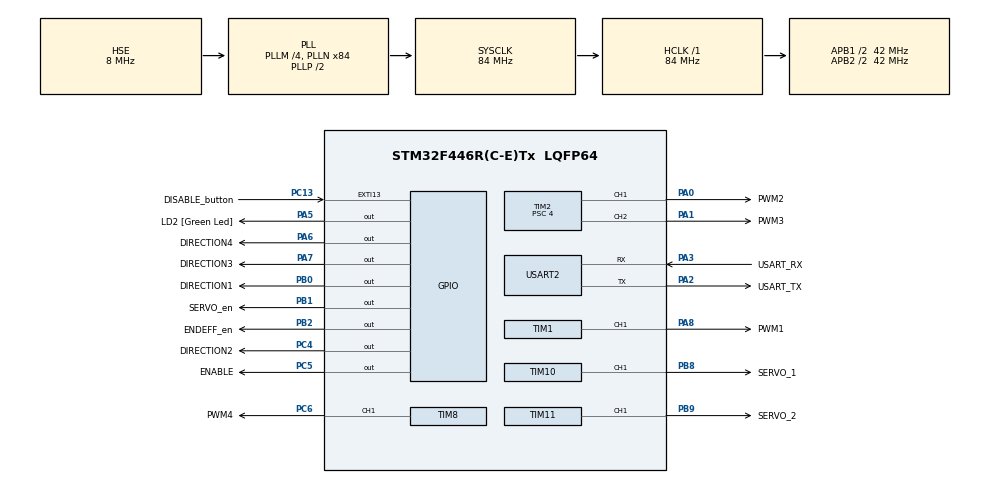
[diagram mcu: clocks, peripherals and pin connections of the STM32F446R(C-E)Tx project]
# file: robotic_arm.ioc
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Mcu.Family=STM32F4
Mcu.Name=STM32F446R(C-E)Tx
Mcu.Package=LQFP64
NVIC.EXTI15_10_IRQn=true\:0\:0\:false\:false\:true\:true\:true\:true
NVIC.PriorityGroup=NVIC_PRIORITYGROUP_1
NVIC.TIM1_BRK_TIM9_IRQn=true\:1\:0\:true\:false\:true\:true\:true\:true
NVIC.TIM1_CC_IRQn=true\:1\:0\:true\:false\:true\:true\:true\:true
NVIC.TIM1_TRG_COM_TIM11_IRQn=true\:1\:0\:true\:false\:true\:true\:true\:true
NVIC.TIM1_UP_TIM10_IRQn=true\:1\:0\:true\:false\:true\:true\:true\:true
NVIC.TIM2_IRQn=true\:1\:0\:true\:false\:true\:true\:true\:true
NVIC.TIM3_IRQn=true\:1\:0\:true\:false\:true\:true\:true\:true
NVIC.TIM4_IRQn=true\:1\:0\:true\:false\:true\:true\:true\:true
NVIC.TIM5_IRQn=true\:1\:0\:true\:false\:true\:true\:true\:true
NVIC.TIM6_DAC_IRQn=true\:1\:0\:true\:false\:true\:true\:true\:true
NVIC.TIM8_BRK_TIM12_IRQn=true\:1\:0\:true\:false\:true\:true\:true\:true
NVIC.TIM8_CC_IRQn=true\:1\:0\:true\:false\:true\:true\:true\:true
NVIC.TIM8_TRG_COM_TIM14_IRQn=true\:1\:0\:true\:false\:true\:true\:true\:true
NVIC.TIM8_UP_TIM13_IRQn=true\:1\:0\:true\:false\:true\:true\:true\:true
PA0-WKUP.GPIO_Label=PWM2
PA0-WKUP.Signal=S_TIM2_CH1_ETR
PA1.GPIO_Label=PWM3
PA1.Signal=S_TIM2_CH2
PA13.GPIO_Label=TMS
PA13.Mode=Serial_Wire
PA13.Signal=SYS_JTMS-SWDIO
PA14.GPIO_Label=TCK
PA14.Mode=Serial_Wire
PA14.Signal=SYS_JTCK-SWCLK
PA2.GPIO_Label=USART_TX
PA2.Mode=Asynchronous
PA2.Signal=USART2_TX
PA3.GPIO_Label=USART_RX
PA3.Mode=Asynchronous
PA3.Signal=USART2_RX
PA5.GPIO_Label=LD2 [Green Led]
PA5.Signal=GPIO_Output
PA6.GPIO_Label=DIRECTION4
PA6.GPIO_PuPd=GPIO_PULLDOWN
PA6.Signal=GPIO_Output
PA7.GPIO_Label=DIRECTION3
PA7.GPIO_PuPd=GPIO_PULLDOWN
PA7.Signal=GPIO_Output
PA8.GPIO_Label=PWM1
PA8.Signal=S_TIM1_CH1
PB0.GPIO_Label=DIRECTION1
PB0.GPIO_ModeDefaultOutputPP=GPIO_MODE_OUTPUT_PP
PB0.GPIO_PuPd=GPIO_PULLDOWN
PB0.Signal=GPIO_Output
PB1.GPIO_Label=SERVO_en
PB1.GPIO_PuPd=GPIO_PULLDOWN
PB1.PinState=GPIO_PIN_RESET
PB1.Signal=GPIO_Output
PB2.GPIO_Label=ENDEFF_en
PB2.GPIO_PuPd=GPIO_PULLUP
PB2.PinState=GPIO_PIN_SET
PB2.Signal=GPIO_Output
PB3.GPIO_Label=SWO
PB3.Signal=SYS_JTDO-SWO
PB8.GPIO_Label=SERVO_1
PB8.Signal=S_TIM10_CH1
PB9.GPIO_Label=SERVO_2
PB9.Signal=S_TIM11_CH1
PC13.GPIO_Label=DISABLE_button
PC13.Signal=GPXTI13
PC14-OSC32_IN.Mode=LSE-External-Oscillator
PC14-OSC32_IN.Signal=RCC_OSC32_IN
PC15-OSC32_OUT.Mode=LSE-External-Oscillator
PC15-OSC32_OUT.Signal=RCC_OSC32_OUT
PC4.GPIO_Label=DIRECTION2
PC4.GPIO_PuPd=GPIO_PULLDOWN
PC4.Signal=GPIO_Output
PC5.GPIO_Label=ENABLE
PC5.GPIO_PuPd=GPIO_PULLUP
PC5.GPIO_Speed=GPIO_SPEED_FREQ_HIGH
PC5.PinState=GPIO_PIN_SET
PC5.Signal=GPIO_Output
PC6.GPIO_Label=PWM4
PC6.Signal=S_TIM8_CH1
PH0-OSC_IN.Mode=HSE-External-Oscillator
PH0-OSC_IN.Signal=RCC_OSC_IN
PH1-OSC_OUT.Mode=HSE-External-Oscillator
PH1-OSC_OUT.Signal=RCC_OSC_OUT
ProjectManager.HeapSize=0x200
ProjectManager.StackSize=0x400
ProjectManager.TargetToolchain=STM32CubeIDE
RCC.48MHZClocksFreq_Value=84000000
RCC.AHBFreq_Value=84000000
RCC.APB1CLKDivider=RCC_HCLK_DIV2
RCC.APB1Freq_Value=42000000
RCC.APB1TimFreq_Value=84000000
RCC.APB2CLKDivider=RCC_HCLK_DIV2
RCC.APB2Freq_Value=42000000
RCC.APB2TimFreq_Value=84000000
RCC.CortexFreq_Value=84000000
RCC.FLatency-AdvancedSettings=FLASH_LATENCY_2
RCC.HCLKFreq_Value=84000000
RCC.HSE_VALUE=8000000
RCC.HSI_VALUE=16000000
RCC.PLLM=4
RCC.PLLN=84
RCC.PLLSourceVirtual=RCC_PLLSOURCE_HSE
RCC.SYSCLKFreq_VALUE=84000000
RCC.SYSCLKSource=RCC_SYSCLKSOURCE_PLLCLK
RCC.USBFreq_Value=84000000
RCC.VCOOutputFreq_Value=168000000
SH.S_TIM10_CH1.0=TIM10_CH1,PWM Generation1 CH1
SH.S_TIM11_CH1.0=TIM11_CH1,PWM Generation1 CH1
SH.S_TIM1_CH1.0=TIM1_CH1,PWM Generation1 CH1
SH.S_TIM2_CH1_ETR.0=TIM2_CH1,PWM Generation1 CH1
SH.S_TIM2_CH2.0=TIM2_CH2,PWM Generation2 CH2
SH.S_TIM8_CH1.0=TIM8_CH1,PWM Generation1 CH1
TIM1.AutoReloadPreload=TIM_AUTORELOAD_PRELOAD_ENABLE
TIM1.Channel-PWM\ Generation1\ CH1=TIM_CHANNEL_1
TIM1.OCFastMode_PWM-PWM\ Generation1\ CH1=TIM_OCFAST_ENABLE
TIM1.Period=65535
TIM1.Prescaler=4
TIM1.Pulse-PWM\ Generation1\ CH1=32768
TIM1.TIM_MasterOutputTrigger=TIM_TRGO_UPDATE
TIM1.TIM_MasterSlaveMode=TIM_MASTERSLAVEMODE_ENABLE
TIM10.AutoReloadPreload=TIM_AUTORELOAD_PRELOAD_ENABLE
TIM10.Channel=TIM_CHANNEL_1
TIM10.OCFastMode_PWM=TIM_OCFAST_ENABLE
TIM10.Pulse=1
TIM11.AutoReloadPreload=TIM_AUTORELOAD_PRELOAD_ENABLE
TIM11.Channel=TIM_CHANNEL_1
TIM11.OCFastMode_PWM=TIM_OCFAST_ENABLE
TIM11.Pulse=1
TIM2.AutoReloadPreload=TIM_AUTORELOAD_PRELOAD_ENABLE
TIM2.Channel-PWM\ Generation1\ CH1=TIM_CHANNEL_1
TIM2.Channel-PWM\ Generation2\ CH2=TIM_CHANNEL_2
TIM2.OCFastMode_PWM-PWM\ Generation1\ CH1=TIM_OCFAST_ENABLE
TIM2.OCFastMode_PWM-PWM\ Generation2\ CH2=TIM_OCFAST_ENABLE
TIM2.Period=65535
TIM2.Prescaler=4
TIM2.Pulse-PWM\ Generation1\ CH1=32768
TIM2.Pulse-PWM\ Generation2\ CH2=32768
TIM2.TIM_MasterOutputTrigger=TIM_TRGO_UPDATE
TIM2.TIM_MasterSlaveMode=TIM_MASTERSLAVEMODE_ENABLE
TIM3.AutoReloadPreload=TIM_AUTORELOAD_PRELOAD_DISABLE
TIM3.CounterMode=TIM_COUNTERMODE_UP
TIM3.Period=199
TIM3.Prescaler=65535
TIM3.TIM_MasterOutputTrigger=TIM_TRGO_RESET
TIM3.TIM_MasterSlaveMode=TIM_MASTERSLAVEMODE_DISABLE
TIM4.Period=199
TIM4.Prescaler=65535
TIM5.AutoReloadPreload=TIM_AUTORELOAD_PRELOAD_DISABLE
TIM5.Period=199
TIM5.Prescaler=65535
TIM5.TIM_MasterOutputTrigger=TIM_TRGO_RESET
TIM5.TIM_MasterSlaveMode=TIM_MASTERSLAVEMODE_DISABLE
TIM6.Period=59999
TIM6.Prescaler=1400*3
TIM8.AutoReloadPreload=TIM_AUTORELOAD_PRELOAD_ENABLE
TIM8.Channel-PWM\ Generation1\ CH1=TIM_CHANNEL_1
TIM8.OCFastMode_PWM-PWM\ Generation1\ CH1=TIM_OCFAST_ENABLE
TIM8.Period=65535
TIM8.Prescaler=4
TIM8.Pulse-PWM\ Generation1\ CH1=32768
TIM8.TIM_MasterOutputTrigger=TIM_TRGO_UPDATE
TIM8.TIM_MasterSlaveMode=TIM_MASTERSLAVEMODE_ENABLE
USART2.VirtualMode=VM_ASYNC
VP_TIM10_VS_ClockSourceINT.Mode=Enable_Timer
VP_TIM11_VS_ClockSourceINT.Mode=Enable_Timer
VP_TIM1_VS_ClockSourceINT.Mode=Internal
VP_TIM2_VS_ClockSourceINT.Mode=Internal
VP_TIM3_VS_ClockSourceINT.Mode=Internal
VP_TIM3_VS_ClockSourceITR.Mode=TriggerSource_ITR1
VP_TIM3_VS_ControllerModeTrigger.Mode=Trigger Mode
VP_TIM4_VS_ClockSourceINT.Mode=Internal
VP_TIM4_VS_ClockSourceITR.Mode=TriggerSource_ITR0
VP_TIM4_VS_ControllerModeTrigger.Mode=Trigger Mode
VP_TIM5_VS_ClockSourceINT.Mode=Internal
VP_TIM5_VS_ClockSourceITR.Mode=TriggerSource_ITR3
VP_TIM5_VS_ControllerModeTrigger.Mode=Trigger Mode
VP_TIM6_VS_ClockSourceINT.Mode=Enable_Timer
VP_TIM8_VS_ClockSourceINT.Mode=Internal
board=NUCLEO-F446RE

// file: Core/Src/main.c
/* USER CODE BEGIN Header */
/**
 ******************************************************************************
 * @file           : main.c
 * @brief          : Main program body
 ******************************************************************************
 * @attention
 *
 * Copyright (c) 2025 STMicroelectronics.
 * All rights reserved.
 *
 * This software is licensed under terms that can be found in the LICENSE file
 * in the root directory of this software component.
 * If no LICENSE file comes with this software, it is provided AS-IS.
 *
 ******************************************************************************
 */
/* USER CODE END Header */
#include "main.h"
#include "tim.h"
#include "usart.h"
#include "gpio.h"

/* USER CODE BEGIN Includes */
#include "stepper.h"
#include "servo.h"
#include "end_eff_gpio.h"

#define TRAPEZOIDAL_PROFILE //COMMENT THIS IF YOU DON'T WANT THIS MOTION PROFILE FOR THE STEPPERS

#ifdef TRAPEZOIDAL_PROFILE
#include "trapezoidal_profile.h"
#include "trapezoidal_profile.c"
#endif

#ifndef TRAPEZOIDAL_PROFILE
#include "stp_callback.c"
#endif

/* USER CODE END Includes */

/* USER CODE BEGIN PV */
static stepper_obj stp1;
static stepper_obj stp2;
static stepper_obj stp3;
static stepper_obj stp4;
static servo_obj srv1;
static servo_obj srv2;
//int state;
//int arr;

/* USER CODE END PV */

void SystemClock_Config(void);

/* USER CODE BEGIN 0 */
GPIO_PinState state;
/* USER CODE END 0 */

int main(void) {

	/* MCU Configuration--------------------------------------------------------*/

	/* Reset of all peripherals, Initializes the Flash interface and the Systick. */
	HAL_Init();

	/* Configure the system clock */
	SystemClock_Config();

	/* Initialize all configured peripherals */
	MX_GPIO_Init();
	MX_USART2_UART_Init();
	MX_TIM3_Init();
	MX_TIM5_Init();
	MX_TIM1_Init();
	MX_TIM2_Init();
	MX_TIM4_Init();
	MX_TIM8_Init();
	MX_TIM10_Init();
	MX_TIM11_Init();
	MX_TIM6_Init();
	/* USER CODE BEGIN 2 */
	HAL_TIM_Base_Start_IT(&htim4);
	HAL_TIM_Base_Start_IT(&htim3);
	HAL_TIM_Base_Start_IT(&htim5);

	HAL_GPIO_WritePin(ENABLE_GPIO_Port, ENABLE_Pin, GPIO_PIN_RESET); //ENABLE
	/*
	 stepper_init(obj, resol, microstep, enable_port, direction_port, timer slave, timerpwm*/
	stepper_init(&stp1, &htim1, &htim4, 1.8, 4 * 4.27, DIRECTION1_GPIO_Port,
	DIRECTION1_Pin);
	stepper_init(&stp2, &htim2, &htim3, 1.8, 4 * 6, DIRECTION2_GPIO_Port,
	DIRECTION2_Pin);
	stepper_init(&stp3, &htim2, &htim3, 1.8, 4 * 6, DIRECTION3_GPIO_Port,
	DIRECTION3_Pin);
	stepper_init(&stp4, &htim8, &htim5, 1.8, 8 * 4.9, DIRECTION4_GPIO_Port,
	DIRECTION4_Pin);
	servo_init(&srv1, &htim10); //default position
	servo_init(&srv2, &htim11); //default position

	//30 orario j1
	//j2/j3 orario 75
	//j4 antiorario 15
	//servo2 -10

	for (int i = 0; i < 2; i++) {

		stepper_move(&stp1, CLOCKWISE, 30, 30);
		HAL_Delay(1200);

		//SI ABBASSA

		stepper_move(&stp2, CLOCKWISE, 126, 30);
		stepper_move(&stp3, COUNTERCLOCKWISE, 126, 30);

		stepper_move(&stp4, CLOCKWISE, 31, 10);
		servo_move(&srv2, -10);
		end_eff_config(0, &htim6);

		//SI ALZA

		HAL_Delay(4200);

		stepper_move(&stp2, COUNTERCLOCKWISE, 126, 30);
		stepper_move(&stp3, CLOCKWISE, 126, 30);

		stepper_move(&stp4, COUNTERCLOCKWISE, 31, 10);
		servo_move(&srv2, 10);

		//GIRA ANTIORARIO
		HAL_Delay(4000);
		stepper_move(&stp1, COUNTERCLOCKWISE, 60, 30);

		//SI ABBASSA

		HAL_Delay(3000);

		stepper_move(&stp2, CLOCKWISE, 115, 30);
		stepper_move(&stp3, COUNTERCLOCKWISE, 115, 30);

		stepper_move(&stp4, CLOCKWISE, 30, 10);
		servo_move(&srv2, -10);

		//SI ALZA

		HAL_Delay(4000);
		end_eff_config(0, &htim6);

		stepper_move(&stp2, COUNTERCLOCKWISE, 115, 30);
		stepper_move(&stp3, CLOCKWISE, 115, 30);

		stepper_move(&stp4, COUNTERCLOCKWISE, 30, 10);
		servo_move(&srv2, 10);

		//GIRA ORARIO
		HAL_Delay(4000);
		stepper_move(&stp1, CLOCKWISE, 30, 30);
		HAL_Delay(4000);
	}

	//HAL_Delay(10);

	//servo_move(&srv1, 0);
	//servo_move(&srv2, 0);

	//end_eff_config(0,&htim6);
	//HAL_Delay(2000);
	/*
	 HAL_GPIO_WritePin(ENDEFF_en_GPIO_Port, ENDEFF_en_Pin, GPIO_PIN_SET);

	 HAL_TIM_Base_Start_IT(&htim6);*/

	//state= HAL_GPIO_ReadPin(ENDEFF_en_GPIO_Port,ENDEFF_en_Pin); //reset
	//stepper_move(&stp1, CLOCKWISE, 180, 45); //SET REGISTERS FOR THE MOVEMENT
	//stepper_move(&stp3, CLOCKWISE, 100, 100);
	/* USER CODE END 2 */

	/* Infinite loop */
	/* USER CODE BEGIN WHILE */
	while (1) {
		//state= HAL_GPIO_ReadPin(ENDEFF_en_GPIO_Port,ENDEFF_en_Pin); //set
		//arr= htim1.Instance->ARR;
		//state = __HAL_TIM_GET_FLAG(&htim1, TIM_FLAG_UPDATE);
		/* USER CODE END WHILE */

	}
}

void SystemClock_Config(void) {
	RCC_OscInitTypeDef RCC_OscInitStruct = { 0 };
	RCC_ClkInitTypeDef RCC_ClkInitStruct = { 0 };

	/** Configure the main internal regulator output voltage
	 */
	__HAL_RCC_PWR_CLK_ENABLE();
	__HAL_PWR_VOLTAGESCALING_CONFIG(PWR_REGULATOR_VOLTAGE_SCALE3);

	/** Initializes the RCC Oscillators according to the specified parameters
	 * in the RCC_OscInitTypeDef structure.
	 */
	RCC_OscInitStruct.OscillatorType = RCC_OSCILLATORTYPE_HSE;
	RCC_OscInitStruct.HSEState = RCC_HSE_ON;
	RCC_OscInitStruct.PLL.PLLState = RCC_PLL_ON;
	RCC_OscInitStruct.PLL.PLLSource = RCC_PLLSOURCE_HSE;
	RCC_OscInitStruct.PLL.PLLM = 4;
	RCC_OscInitStruct.PLL.PLLN = 84;
	RCC_OscInitStruct.PLL.PLLP = RCC_PLLP_DIV2;
	RCC_OscInitStruct.PLL.PLLQ = 2;
	RCC_OscInitStruct.PLL.PLLR = 2;
	if (HAL_RCC_OscConfig(&RCC_OscInitStruct) != HAL_OK) {
		Error_Handler();
	}

	/** Initializes the CPU, AHB and APB buses clocks
	 */
	RCC_ClkInitStruct.ClockType = RCC_CLOCKTYPE_HCLK | RCC_CLOCKTYPE_SYSCLK
			| RCC_CLOCKTYPE_PCLK1 | RCC_CLOCKTYPE_PCLK2;
	RCC_ClkInitStruct.SYSCLKSource = RCC_SYSCLKSOURCE_PLLCLK;
	RCC_ClkInitStruct.AHBCLKDivider = RCC_SYSCLK_DIV1;
	RCC_ClkInitStruct.APB1CLKDivider = RCC_HCLK_DIV2;
	RCC_ClkInitStruct.APB2CLKDivider = RCC_HCLK_DIV2;

	if (HAL_RCC_ClockConfig(&RCC_ClkInitStruct, FLASH_LATENCY_2) != HAL_OK) {
		Error_Handler();
	}
}

void Error_Handler(void) {
	__disable_irq();
	while (1) {
	}
}
